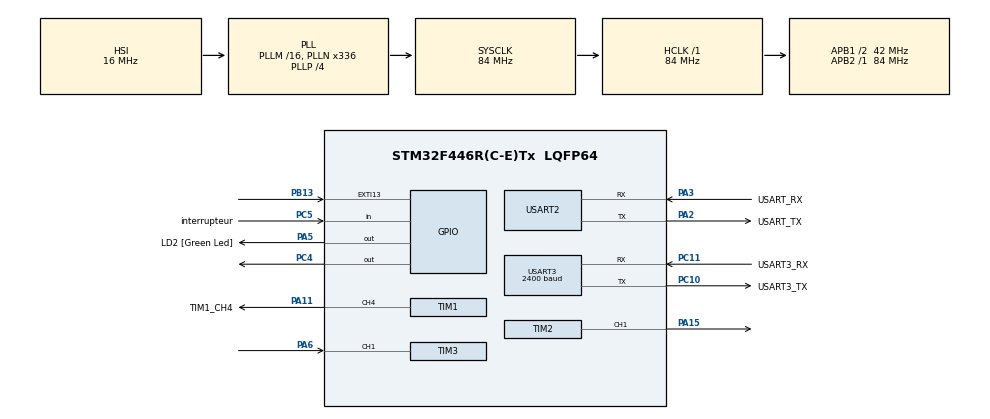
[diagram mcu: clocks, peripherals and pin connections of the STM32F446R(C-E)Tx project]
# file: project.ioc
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Dma.Request0=USART2_RX
Dma.Request1=USART2_TX
Dma.Request2=USART3_RX
Dma.Request3=USART3_TX
Dma.USART2_RX.0.Direction=DMA_PERIPH_TO_MEMORY
Dma.USART2_RX.0.FIFOMode=DMA_FIFOMODE_DISABLE
Dma.USART2_RX.0.Instance=DMA1_Stream5
Dma.USART2_RX.0.MemDataAlignment=DMA_MDATAALIGN_BYTE
Dma.USART2_RX.0.MemInc=DMA_MINC_ENABLE
Dma.USART2_RX.0.Mode=DMA_NORMAL
Dma.USART2_RX.0.PeriphDataAlignment=DMA_PDATAALIGN_BYTE
Dma.USART2_RX.0.PeriphInc=DMA_PINC_DISABLE
Dma.USART2_RX.0.Priority=DMA_PRIORITY_LOW
Dma.USART2_TX.1.Direction=DMA_MEMORY_TO_PERIPH
Dma.USART2_TX.1.FIFOMode=DMA_FIFOMODE_DISABLE
Dma.USART2_TX.1.Instance=DMA1_Stream6
Dma.USART2_TX.1.MemDataAlignment=DMA_MDATAALIGN_BYTE
Dma.USART2_TX.1.MemInc=DMA_MINC_ENABLE
Dma.USART2_TX.1.Mode=DMA_NORMAL
Dma.USART2_TX.1.PeriphDataAlignment=DMA_PDATAALIGN_BYTE
Dma.USART2_TX.1.PeriphInc=DMA_PINC_DISABLE
Dma.USART2_TX.1.Priority=DMA_PRIORITY_LOW
Dma.USART3_RX.2.Direction=DMA_PERIPH_TO_MEMORY
Dma.USART3_RX.2.FIFOMode=DMA_FIFOMODE_DISABLE
Dma.USART3_RX.2.Instance=DMA1_Stream1
Dma.USART3_RX.2.MemDataAlignment=DMA_MDATAALIGN_BYTE
Dma.USART3_RX.2.MemInc=DMA_MINC_ENABLE
Dma.USART3_RX.2.Mode=DMA_CIRCULAR
Dma.USART3_RX.2.PeriphDataAlignment=DMA_PDATAALIGN_BYTE
Dma.USART3_RX.2.PeriphInc=DMA_PINC_DISABLE
Dma.USART3_RX.2.Priority=DMA_PRIORITY_LOW
Dma.USART3_TX.3.Direction=DMA_MEMORY_TO_PERIPH
Dma.USART3_TX.3.FIFOMode=DMA_FIFOMODE_DISABLE
Dma.USART3_TX.3.Instance=DMA1_Stream3
Dma.USART3_TX.3.MemDataAlignment=DMA_MDATAALIGN_BYTE
Dma.USART3_TX.3.MemInc=DMA_MINC_ENABLE
Dma.USART3_TX.3.Mode=DMA_NORMAL
Dma.USART3_TX.3.PeriphDataAlignment=DMA_PDATAALIGN_BYTE
Dma.USART3_TX.3.PeriphInc=DMA_PINC_DISABLE
Dma.USART3_TX.3.Priority=DMA_PRIORITY_LOW
Mcu.Family=STM32F4
Mcu.Name=STM32F446R(C-E)Tx
Mcu.Package=LQFP64
NVIC.DMA1_Stream1_IRQn=true\:0\:0\:false\:false\:true\:false\:true
NVIC.DMA1_Stream3_IRQn=true\:0\:0\:false\:false\:true\:false\:true
NVIC.DMA1_Stream5_IRQn=true\:0\:0\:false\:false\:true\:false\:true
NVIC.DMA1_Stream6_IRQn=true\:0\:0\:false\:false\:true\:false\:true
NVIC.EXTI15_10_IRQn=true\:0\:0\:false\:false\:true\:true\:true
NVIC.PriorityGroup=NVIC_PRIORITYGROUP_0
NVIC.TIM3_IRQn=true\:0\:0\:false\:false\:true\:true\:true
NVIC.USART3_IRQn=true\:0\:0\:false\:false\:true\:true\:true
PA11.GPIO_Label=TIM1_CH4
PA11.Signal=S_TIM1_CH4
PA13.GPIO_Label=TMS
PA13.Mode=Serial_Wire
PA13.Signal=SYS_JTMS-SWDIO
PA14.GPIO_Label=TCK
PA14.Mode=Serial_Wire
PA14.Signal=SYS_JTCK-SWCLK
PA15.Signal=S_TIM2_CH1_ETR
PA2.GPIO_Label=USART_TX
PA2.Mode=Asynchronous
PA2.Signal=USART2_TX
PA3.GPIO_Label=USART_RX
PA3.Mode=Asynchronous
PA3.Signal=USART2_RX
PA5.GPIO_Label=LD2 [Green Led]
PA5.Signal=GPIO_Output
PA6.Signal=S_TIM3_CH1
PB13.GPIO_ModeDefaultEXTI=GPIO_MODE_IT_RISING_FALLING
PB13.GPIO_PuPd=GPIO_PULLUP
PB13.Signal=GPXTI13
PB3.GPIO_Label=SWO
PB3.Signal=SYS_JTDO-SWO
PC10.GPIO_Label=USART3_TX
PC10.Mode=Asynchronous
PC10.Signal=USART3_TX
PC11.GPIO_Label=USART3_RX
PC11.Mode=Asynchronous
PC11.Signal=USART3_RX
PC14-OSC32_IN.Mode=LSE-External-Oscillator
PC14-OSC32_IN.Signal=RCC_OSC32_IN
PC15-OSC32_OUT.Mode=LSE-External-Oscillator
PC15-OSC32_OUT.Signal=RCC_OSC32_OUT
PC4.Signal=GPIO_Output
PC5.GPIO_Label=interrupteur
PC5.GPIO_PuPd=GPIO_PULLUP
PC5.Signal=GPIO_Input
PC8.Signal=S_TIM3_CH3
PH0-OSC_IN.Mode=HSE-External-Oscillator
PH0-OSC_IN.Signal=RCC_OSC_IN
PH1-OSC_OUT.Mode=HSE-External-Oscillator
PH1-OSC_OUT.Signal=RCC_OSC_OUT
ProjectManager.HeapSize=0x200
ProjectManager.StackSize=0x400
ProjectManager.TargetToolchain=MDK-ARM V5.27
RCC.48MHZClocksFreq_Value=84000000
RCC.AHBFreq_Value=84000000
RCC.APB1CLKDivider=RCC_HCLK_DIV2
RCC.APB1Freq_Value=42000000
RCC.APB1TimFreq_Value=84000000
RCC.APB2Freq_Value=84000000
RCC.APB2TimFreq_Value=84000000
RCC.CortexFreq_Value=84000000
RCC.FLatency-AdvancedSettings=FLASH_LATENCY_2
RCC.HCLKFreq_Value=84000000
RCC.HSE_VALUE=8000000
RCC.HSI_VALUE=16000000
RCC.PLLN=336
RCC.PLLP=RCC_PLLP_DIV4
RCC.SYSCLKFreq_VALUE=84000000
RCC.SYSCLKSource=RCC_SYSCLKSOURCE_PLLCLK
RCC.USBFreq_Value=168000000
RCC.VCOOutputFreq_Value=336000000
SH.S_TIM1_CH4.0=TIM1_CH4,PWM Generation4 CH4
SH.S_TIM2_CH1_ETR.0=TIM2_CH1,PWM Generation1 CH1
SH.S_TIM3_CH1.0=TIM3_CH1,PWM_Input_1
SH.S_TIM3_CH3.0=TIM3_CH3
TIM1.Channel-PWM\ Generation4\ CH4=TIM_CHANNEL_4
TIM1.Period=9
TIM1.Prescaler=220
TIM1.Pulse-PWM\ Generation4\ CH4=4
TIM1.TIM_MasterOutputTrigger=TIM_TRGO_RESET
TIM2.Channel-PWM\ Generation1\ CH1=TIM_CHANNEL_1
TIM2.Period=199999
TIM2.Prescaler=83
TIM2.Pulse-PWM\ Generation1\ CH1=10
TIM3.Prescaler=83
USART2.VirtualMode=VM_ASYNC
USART3.BaudRate=2400
USART3.VirtualMode=VM_ASYNC
VP_TIM1_VS_ClockSourceINT.Mode=Internal
VP_TIM2_VS_ClockSourceINT.Mode=Internal
board=NUCLEO-F446RE

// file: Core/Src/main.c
/* USER CODE BEGIN Header */
/**
  ******************************************************************************
  * @file           : main.c
  * @brief          : Main program body
  ******************************************************************************
  * @attention
  *
  * <h2><center>&copy; Copyright (c) 2020 STMicroelectronics.
  * All rights reserved.</center></h2>
  *
  * This software component is licensed by ST under BSD 3-Clause license,
  * the "License"; You may not use this file except in compliance with the
  * License. You may obtain a copy of the License at:
  *                        opensource.org/licenses/BSD-3-Clause
  *
  ******************************************************************************
  */
/* USER CODE END Header */
#include "main.h"
#include "dma.h"
#include "tim.h"
#include "usart.h"
#include "gpio.h"

/* USER CODE BEGIN Includes */
#define ARM_MATH_CM4
#define CONTROLLER 1
#include "arm_math.h"
#include "stdio.h"
#include "stdlib.h"
#include "string.h"
#include "stdbool.h"
#include "ball.h"
#include "badminton.h"
#include "title.h"
#include "3d.h"
#include "MCUFRIEND_kbv.h"
/* USER CODE END Includes */

/* USER CODE BEGIN PV */
#define MAXHEIGHT 240
#define MAXWIDTH 320
#define FONT 8
#define PONGSIZE 50
#define SPACE 8
#define RBALL 5
#define PONGSPEED 5
#define VYSPEED 5.0

#define LIMITUP (MAXHEIGHT - FONT)
#define LIMITL  (MAXWIDTH - FONT)

extern volatile uint32_t pulse_width;

#define TX_BUFFER_SIZE 2 * (1 + CONTROLLER)
#define RX_BUFFER_SIZE 2 * (2 - CONTROLLER)

uint8_t transferBuffer[TX_BUFFER_SIZE];
uint8_t receiveBuffer[RX_BUFFER_SIZE];

volatile bool flagTransmitted = false;
volatile bool flagReceived = false;
volatile uint32_t local_time = 0;

uint8_t score_g = 0;
uint8_t score_d = 0;
bool score_g_changed = true;
bool score_d_changed = true;
bool exitDeuxContreDeux = false;
uint8_t toggle = 0;
enum mode currentMode = Title;
/* USER CODE END PV */

void SystemClock_Config(void);
/* USER CODE BEGIN PFP */
enum Tools {BALL, PONG};
enum CollisionType {UDWALL,LRWALL,PLAYER1,PLAYER2,NONE};
struct Tool
{
	float xPos;
	float yPos;
	float xSpeed;
	float ySpeed;
	enum Tools mType;
};

struct Tool mBall, mPade1, mPade2;
/* USER CODE END PFP */

/* USER CODE BEGIN 0 */

#ifdef __GNUC__
#define PUTCHAR_PROTOTYPE int __io_putchar(int ch)
#else
#define PUTCHAR_PROTOTYPE int fputc(int ch, FILE *f)
#endif /* __GNUC__ */

void SetLCD(void)
{
	LCD_Begin();
	HAL_Delay(20);
	LCD_SetRotation(3);
	LCD_FillScreen(LCD_Color565(0,17,114));
}

void BorderGame(void)
{
	LCD_FillRect(MAXWIDTH - FONT, 0, FONT,  MAXHEIGHT, WHITE); //RIGHT
	LCD_FillRect(0, 0, MAXWIDTH, FONT, WHITE);  //UP
	LCD_FillRect(0, MAXHEIGHT-FONT, MAXWIDTH, FONT,  WHITE); //DOWN
	LCD_FillRect(0, 0,  FONT, MAXHEIGHT, WHITE); //LEFT
}

int16_t cMax(int16_t a, int16_t b)
{
	return (a<b)?b:a;
}

int16_t cMin(int16_t a, int16_t b)
{
	return (a>b)?b:a;
}

int BallRectangle (int16_t Cx,int16_t Cy,int16_t Rx, int16_t Ry, int16_t RectWidth, int16_t RectHeight)
{
	int16_t DeltaX = Cx - cMax(Rx, cMin(Cx, Rx + RectWidth));
	int16_t DeltaY = Cy - cMax(Ry, cMin(Cy, Ry + RectHeight));

	return (DeltaX * DeltaX + DeltaY * DeltaY) <= ( ( RBALL + 2) * (RBALL + 2));
}

#if CONTROLLER
enum CollisionType CollisionBall()
{
	if(BallRectangle(mBall.xPos + mBall.xSpeed,mBall.yPos + mBall.ySpeed, 0, MAXHEIGHT-FONT,  MAXWIDTH, FONT) ||
		BallRectangle(mBall.xPos+ mBall.xSpeed,mBall.yPos + mBall.ySpeed,0, 0, MAXWIDTH, FONT))
			return UDWALL;

	if(BallRectangle(mBall.xPos + mBall.xSpeed,mBall.yPos + mBall.ySpeed,0,0, FONT,MAXHEIGHT) ||
		BallRectangle(mBall.xPos + mBall.xSpeed,mBall.yPos + mBall.ySpeed,MAXWIDTH - FONT, 0, FONT, MAXHEIGHT))
			return LRWALL;

	if(BallRectangle(mBall.xPos + mBall.xSpeed, mBall.yPos + mBall.ySpeed,mPade2.xPos,mPade2.yPos,FONT,PONGSIZE))
		return PLAYER2;

	if(BallRectangle(mBall.xPos + mBall.xSpeed,mBall.yPos + mBall.ySpeed,mPade1.xPos,mPade1.yPos,FONT,PONGSIZE))
		return PLAYER1;

	return NONE;
}
#endif
int CollisionPong(struct Tool mPade)
{
	if(((mPade.xPos + mPade.xSpeed + PONGSIZE) > LIMITUP) ||
			((mPade.xPos + mPade.xSpeed) < FONT ))
		return 1;
	return 0;
}

void InitGame()
{
	mBall.xPos = MAXWIDTH/2;
	mBall.yPos = MAXHEIGHT/2;
	mBall.xSpeed = 2;
	mBall.ySpeed = 2;

	mPade1.xPos = SPACE ;
	mPade1.yPos = MAXHEIGHT/2-PONGSIZE/2;
	mPade1.xSpeed = 0;
	mPade1.ySpeed = 0;

	mPade2.xPos = MAXWIDTH - SPACE - FONT ;
	mPade2.yPos = MAXHEIGHT/2-PONGSIZE/2;
	mPade2.xSpeed = 0;
	mPade2.ySpeed = 0;
	score_d = 0;
	score_g = 0;
	exitDeuxContreDeux  = false;
}

/** Transmit the already filled 'transferBuffer' array through
* USART and wait until it is received.
*/
//void finishTransmission(int nBytes){
//	HAL_UART_Transmit_DMA(&huart3, transferBuffer, nBytes);
//	while (flagTransmitted == false);
//	flagTransmitted = false;
//	local_time = 0;
//	while (flagReceived == false && local_time < 1000);
//	flagReceived = false;
//}
//#ifdef isController
//void sendPosition(){
//	transferBuffer[0] = 254;
//	transferBuffer[1] = (uint8_t) (mBall.xPos);
//	transferBuffer[2] = (uint8_t) (mBall.yPos / 2);
//	transferBuffer[3] = (uint8_t) (mPade1.xPos);
//	finishTransmission(4);
//}
//void sendScore(){
//	transferBuffer[0] = 255;
//	transferBuffer[1] = score_g;
//	transferBuffer[2] = score_d;
//	transferBuffer[3] = 0;
//	finishTransmission(4);
//}
//#endif
//#ifdef isExecuter
//void sendHeight(){
//	transferBuffer[0] = 253;
//	transferBuffer[1] = (uint8_t) (mPade1.xPos);
//	finishTransmission(2);
//}
//#endif

#if CONTROLLER
void MoveBall()
{
	LCD_FillCircle(mBall.xPos, mBall.yPos,RBALL+2,LCD_Color565(0,17,114));
	switch (CollisionBall())
	{
		case UDWALL:
								//BorderGame();
								mBall.ySpeed *=-1;
								break;
		case LRWALL:
								//BorderGame();
								mBall.xSpeed*=-1;
								// Hitting the top means that left player scored.
								if (mBall.xPos < 25){
									score_d++;
									score_d_changed = true;
								}
								// The ball hitting the bottom means the right one scored.
								else if (mBall.xPos > 200){
									score_g++;
									score_g_changed = true;
								}
								// Put the ball back into the middle.
								mBall.xPos = MAXWIDTH / 2;
								break;
		case PLAYER2:
								mBall.xSpeed *= -1;
								mBall.ySpeed  = (((mPade2.yPos + PONGSIZE/2.0) - mBall.yPos)/(PONGSIZE/2.0))*-VYSPEED;
								break;
		case PLAYER1:
								mBall.xSpeed *= -1;
								mBall.ySpeed  = (((mPade1.yPos + PONGSIZE/2.0) - mBall.yPos)/(PONGSIZE/2.0))*-VYSPEED;
								break;
		default:
								break;
	}

	mBall.xPos += mBall.xSpeed;
	mBall.yPos += mBall.ySpeed;
	LCD_FillCircle(mBall.xPos, mBall.yPos,RBALL,LCD_Color565(0,255,33));
}
#endif

//struct Tool MovePong(struct Tool mPong)
//{
//	if(!CollisionPong(mPong))
//	{
//		LCD_FillRect(mPong.xPos,mPong.yPos,PONGSIZE,FONT,LCD_Color565(0,17,114));
//		mPong.xPos += mPong.xSpeed;
//		mPong.yPos += mPong.ySpeed;
//		LCD_FillRect(mPong.xPos,mPong.yPos,PONGSIZE,FONT,WHITE);
//	}
//	return mPong;
//}

void drawNet(){
	LCD_FillRect(FONT, 320/2 - FONT/8, 240-(2*FONT), FONT/4, LCD_Color565(0,17,114));
	for (int i = 0; i < 7; i++)
		LCD_FillRect(320/2 - FONT/8, FONT + FONT/2 + (i*4*FONT), FONT/4, FONT*3, WHITE);
}
void placePongWithDistance(struct Tool* mPong, float distance){
	// Remove 2 cm because it is too close to the sensor, normalise with 30 cm
	// to define a working range and scale to screen width (240 - 20 px).
	if (distance < 2.0)
		distance = 2.0;
	float normalisedDistance = ((distance - 2.0) / 30.0) * (float)(MAXHEIGHT - (2*FONT));
	//  Check if the position is too large.
	if (normalisedDistance + PONGSIZE > MAXHEIGHT - (2*FONT))
		normalisedDistance = MAXHEIGHT - PONGSIZE - (2*FONT);
	// Place pong
	mPong->yPos = normalisedDistance + FONT;
}

void displayDefaite(uint8_t score_g, uint8_t score_d)
{
		LCD_FillScreen(LCD_Color565(140,0,0));
		LCD_SetCursor(30, 30);
		LCD_SetTextColor(BLACK,LCD_Color565(140,0,0));
		LCD_SetTextSize(4);
		LCD_Printf("X DEFAITE X\r\n");
		LCD_FillRect(35 - FONT/2, 120 - FONT/2, 255 + FONT, FONT/2, WHITE);
		LCD_FillRect(35 - FONT/2, 120 - FONT/2, FONT/2, 80 + FONT, WHITE);
		LCD_FillRect(35, 120, 255, 80, LCD_Color565(0,17,114));
		LCD_FillRect(35 + 255, 120 - FONT/2, FONT/2, 80 + FONT, WHITE);
		LCD_FillRect(35 - FONT/2, 120 + 80, 255 + FONT, FONT/2, WHITE);

		LCD_SetCursor(35 + FONT, 120 + FONT);
		LCD_SetTextColor(WHITE, LCD_Color565(0,17,114));
		LCD_SetTextSize(3);
		LCD_Printf(" Score Final:\r\n");

		LCD_SetCursor(90 + FONT, 160 + FONT);
		LCD_SetTextColor(LCD_Color565(255,0,0), LCD_Color565(0,17,114));
		LCD_SetTextSize(3);
		LCD_Printf("%i\r\n", score_g);

		LCD_SetCursor(190 + FONT, 160 + FONT);
		LCD_SetTextColor(LCD_Color565(255,224,71), LCD_Color565(0,17,114));
		LCD_SetTextSize(3);
		LCD_Printf("%i\r\n", score_d);
}

void displayVictoire(uint8_t score_g, uint8_t score_d)
{
		//FONT
		//LCD_FillScreen(LCD_Color565(0,229,26));
		LCD_FillScreen(GREENYELLOW);
		LCD_SetCursor(30, 30);
		LCD_SetTextColor(WHITE, GREENYELLOW);
		LCD_SetTextSize(4);
		LCD_Printf("!! BRAVO !!\r\n");
		LCD_FillRect(35, 120, 255, 80, LCD_Color565(0,17,114));

		LCD_FillRect(35 - FONT/2, 120 - FONT/2, 255 + FONT, FONT/2, WHITE);
		LCD_FillRect(35 - FONT/2, 120 - FONT/2, FONT/2, 80 + FONT, WHITE);
		LCD_FillRect(35, 120, 255, 80, LCD_Color565(0,17,114));
		LCD_FillRect(35 + 255, 120 - FONT/2, FONT/2, 80 + FONT, WHITE);
		LCD_FillRect(35 - FONT/2, 120 + 80, 255 + FONT, FONT/2, WHITE);

		LCD_SetCursor(35 + FONT, 120 + FONT);
		LCD_SetTextColor(WHITE, LCD_Color565(0,17,114));
		LCD_SetTextSize(3);
		LCD_Printf(" Score Final:\r\n");

		LCD_SetCursor(90 + FONT, 160 + FONT);
		LCD_SetTextColor(LCD_Color565(255,0,0), LCD_Color565(0,17,114));
		LCD_SetTextSize(3);
		LCD_Printf("%i\r\n", score_g);

		LCD_SetCursor(190 + FONT, 160 + FONT);
		LCD_SetTextColor(LCD_Color565(255,224,71), LCD_Color565(0,17,114));
		LCD_SetTextSize(3);
		LCD_Printf("%i\r\n", score_d);
}
void displayFin(uint8_t score)
{
		//FONT
		LCD_FillScreen(LCD_Color565(0, 155, 255));
		LCD_SetCursor(30, 30);
		LCD_SetTextColor(LCD_Color565(255,0,0), LCD_Color565(0, 155, 255));
		LCD_SetTextSize(4);
	  LCD_Printf(" ): FIN :(\r\n");
		LCD_FillRect(35, 120, 255, 80, LCD_Color565(0,17,114));

		LCD_FillRect(35 - FONT/2, 120 - FONT/2, 255 + FONT, FONT/2, WHITE);
		LCD_FillRect(35 - FONT/2, 120 - FONT/2, FONT/2, 80 + FONT, WHITE);
		LCD_FillRect(35, 120, 255, 80, LCD_Color565(0,17,114));
		LCD_FillRect(35 + 255, 120 - FONT/2, FONT/2, 80 + FONT, WHITE);
		LCD_FillRect(35 - FONT/2, 120 + 80, 255 + FONT, FONT/2, WHITE);

		LCD_SetCursor(35 + FONT, 120 + FONT);
		LCD_SetTextColor(WHITE, LCD_Color565(0,17,114));
		LCD_SetTextSize(3);
		LCD_Printf(" Score Final:\r\n");

		LCD_SetCursor(130 + FONT, 160 + FONT);
		LCD_SetTextColor(LCD_Color565(255,0,0), LCD_Color565(0,17,114));
		LCD_SetTextSize(3);
		LCD_Printf("%i\r\n", score);
}

/* USER CODE END 0 */

int main(void)
{

  /* MCU Configuration--------------------------------------------------------*/

  /* Reset of all peripherals, Initializes the Flash interface and the Systick. */
  HAL_Init();

  /* Configure the system clock */
  SystemClock_Config();

  /* Initialize all configured peripherals */
  MX_GPIO_Init();
  MX_DMA_Init();
  MX_USART2_UART_Init();
  MX_TIM2_Init();
  MX_TIM3_Init();
  MX_USART3_UART_Init();
  MX_TIM1_Init();
  /* USER CODE BEGIN 2 */
	HAL_Delay(1000);
	SetLCD();
	//InitGame();
	//BorderGame();
	HAL_GPIO_WritePin(LD2_GPIO_Port,LD2_Pin,GPIO_PIN_SET);
	HAL_TIM_PWM_Start(&htim2, TIM_CHANNEL_1);
	HAL_TIM_PWM_Start(&htim1, TIM_CHANNEL_4);
	HAL_TIM_IC_Start_IT(&htim3, TIM_CHANNEL_1);
	HAL_TIM_IC_Start_IT(&htim3, TIM_CHANNEL_2);
	HAL_TIM_IC_Start_IT(&htim1, TIM_CHANNEL_4);
	HAL_UART_Receive_DMA(&huart3, receiveBuffer, RX_BUFFER_SIZE);
  /* USER CODE END 2 */

  /* Infinite loop */
  /* USER CODE BEGIN WHILE */
	float distance = 0;
//	LCD_FillRect(mPade1.xPos,mPade1.yPos,FONT, PONGSIZE,LCD_Color565(255,0,0));
//	LCD_FillRect(mPade2.xPos,mPade2.yPos,FONT, PONGSIZE,LCD_Color565(255,224,71));
//	LCD_SetCursor(240 - FONT, 30);
//	LCD_SetTextColor(WHITE,LCD_Color565(0,17,114));
//	LCD_Printf("%i\r\n", score_d); // Player 1
//	LCD_SetTextColor(WHITE,LCD_Color565(0,17,114));
//	LCD_SetCursor(80 - FONT, 30);
//	LCD_Printf("%i\r\n", score_g); // Player 2
		const char* intro[13] = {"ELE3312 - Project", "", "PONG-19", "",
			"Modern pong game", "Futuristic look", "", "Developed by : ", "", "Joseph Maheshe", "Vincent Therrien",
			"", "December 3, 2020"
		};

		int16_t ht = 16, top = 3, line = 0, lines = 13, scroll=0;
		LCD_FillScreen(LCD_Color565(140,0,0));
		LCD_SetTextSize(2);
		LCD_SetTextColor(WHITE, LCD_Color565(140,0,0));
		LCD_SetRotation(0);
		while(line < lines)
		{
		LCD_SetCursor(0, (scroll + top) * ht);
    LCD_VertScroll(top * ht, lines * ht, (++scroll) * ht);
		LCD_Printf(intro[line]);
    HAL_Delay(1000);
    line++;
		}
		LCD_SetTextSize(3);
	initTitle();
  while (1)
  {
    /* USER CODE END WHILE */

    /* USER CODE BEGIN 3 */

//		while(exitB() == 0)
//		{
			distance = ((float)pulse_width)/58.0;
//			updateBadminton(distance);
//			HAL_Delay(25);
//		}
			if (currentMode == Title){
			updateTitle(distance);
			if (HAL_GPIO_ReadPin(interrupteur_GPIO_Port, interrupteur_Pin) == RESET){
				currentMode = getMode();
				if (currentMode == Mode3D)
					init3D();
				else if(currentMode == Badminton)
					initBadminton();
				else if (currentMode == DeuxContreDeux)
				{
					LCD_FillScreen(LCD_Color565(0,17,114));
					BorderGame();
					InitGame();
					LCD_FillRect(mPade1.xPos,mPade1.yPos,FONT, PONGSIZE,LCD_Color565(255,0,0));
					LCD_FillRect(mPade2.xPos,mPade2.yPos,FONT, PONGSIZE,LCD_Color565(255,224,71));
					LCD_SetCursor(240 - FONT, 30);
					LCD_SetTextColor(WHITE,LCD_Color565(0,17,114));
					LCD_Printf("%i\r\n", score_d); // Player 1
					LCD_SetTextColor(WHITE,LCD_Color565(0,17,114));
					LCD_SetCursor(80 - FONT, 30);
					LCD_Printf("%i\r\n", score_g); // Player 2
				}
				else if (currentMode == UnJoueur)
				{
					LCD_FillScreen(LCD_Color565(0,17,114));
					BorderGame();
					InitGame();
					LCD_FillRect(mPade1.xPos,mPade1.yPos,FONT, PONGSIZE,LCD_Color565(255,0,0));
					LCD_FillRect(mPade2.xPos,mPade2.yPos,FONT, PONGSIZE,LCD_Color565(255,224,71));
					LCD_SetCursor(240 - FONT, 30);
					LCD_SetTextColor(WHITE,LCD_Color565(0,17,114));
					LCD_Printf("%i\r\n", score_d); // Player 1
					LCD_SetTextColor(WHITE,LCD_Color565(0,17,114));
					LCD_SetCursor(80 - FONT, 30);
					LCD_Printf("%i\r\n", score_g); // Player 2
				}
			}
		}
		// 3D
		if (currentMode == Mode3D){
			update3D(distance);
			if (mode3DmustExit() == -1){
				displayDefaite(getPlayerScore3D(), getComputerScore3D());
				HAL_Delay(3000);
				currentMode = Title;
				initTitle();
			}
			else if (mode3DmustExit() == 1){
				displayVictoire(getPlayerScore3D(), getComputerScore3D());
				HAL_Delay(3000);
				currentMode = Title;
				initTitle();
			}
		}
		//Badminton
		if (currentMode == Badminton){
			updateBadminton(distance);
			if (exitB() == 1){
				displayFin(getScoreBadminton());
				HAL_Delay(3000);
				currentMode = Title;
				initTitle();
			}
		}
		// Un joueur
		if (currentMode == UnJoueur){
			if (mBall.xPos > (MAXWIDTH/2) - (2*FONT)
				&& mBall.xPos < (MAXWIDTH/2) + (2*FONT))
			drawNet();
		if(BallRectangle(mBall.xPos, mBall.yPos, 200, 10, 50, 50) || score_d_changed)
			{
				LCD_FillRect(240 - FONT, 30, 10, 20, LCD_Color565(0,17,114));
				LCD_SetCursor(240 - FONT, 30);
				LCD_SetTextColor(WHITE,LCD_Color565(0,17,114));
				LCD_Printf("%i\r\n", score_d); // Player 2
			}

		if(BallRectangle(mBall.xPos, mBall.yPos, 60, 10, 50, 50) || score_g_changed)
			{
				LCD_FillRect(80 - FONT, 30, 10,  20, LCD_Color565(0,17,114));
				LCD_SetTextColor(WHITE, LCD_Color565(0,17,114));
				LCD_SetCursor(80 - FONT, 30);
				LCD_Printf("%i\r\n", score_g); // Player 1
			}
			toggle ^= (score_d_changed || score_g_changed);
			LCD_InvertDisplay(toggle);
			if (score_g ==5)
		{
			LCD_InvertDisplay(false);
			  displayVictoire(score_g, score_d);
				HAL_Delay(3000);
				exitDeuxContreDeux = true;
				currentMode = Title;
				initTitle();
		}
			else if (score_d == 5)
			{
				LCD_InvertDisplay(false);
				displayDefaite(score_g, score_d);
				HAL_Delay(3000);
				exitDeuxContreDeux = true;
				currentMode = Title;
				initTitle();
			}
			score_g_changed = false;
		score_d_changed = false;
if(!exitDeuxContreDeux)
{
		// Measure distance
		distance = ((float)pulse_width)/58.0;
		LCD_FillRect(mPade1.xPos,mPade1.yPos,FONT,PONGSIZE,LCD_Color565(0,17,114));
		placePongWithDistance(&mPade1, distance);
		LCD_FillRect(mPade1.xPos,mPade1.yPos,FONT,PONGSIZE,LCD_Color565(255,0,0));
		}
		MoveBall();

		// Ajouter le controle automatique de mPade2
		float delta = mPade2.yPos - mBall.yPos;
		printf("%f\n\r", delta);
		int motion = 0;
		if (delta > 0 && mBall.xPos > 100){
			motion = -3;
		}
		else if (delta < 0 && mBall.xPos > 100){
			motion = 3;
		}
		LCD_FillRect(mPade2.xPos,mPade2.yPos,FONT,PONGSIZE,LCD_Color565(0,17,114));
		mPade2.yPos += motion;
		if (mPade2.yPos < 10)
			mPade2.yPos = FONT;
		if (mPade2.yPos + PONGSIZE > 240 - FONT)
			mPade2.yPos = 240 - FONT - PONGSIZE;
		LCD_FillRect(mPade2.xPos,mPade2.yPos,FONT,PONGSIZE,LCD_Color565(255,224,71));

	}

		//Deux contre Deux
		if (currentMode == DeuxContreDeux){
		// Display the net only if the ball is near it.
		if (mBall.xPos > (MAXWIDTH/2) - (2*FONT)
				&& mBall.xPos < (MAXWIDTH/2) + (2*FONT))
			drawNet();
		// Display scores  either if they changed or if they are
		// erase by the motion of the ball.
			//

		if(BallRectangle(mBall.xPos, mBall.yPos, 200, 10, 50, 50) || score_d_changed)
			{
				LCD_FillRect(240 - FONT, 30, 10, 20, LCD_Color565(0,17,114));
				LCD_SetCursor(240 - FONT, 30);
				LCD_SetTextColor(WHITE,LCD_Color565(0,17,114));
				LCD_Printf("%i\r\n", score_d); // Player 2
			}

		if(BallRectangle(mBall.xPos, mBall.yPos, 60, 10, 50, 50) || score_g_changed)
			{
				LCD_FillRect(80 - FONT, 30, 10,  20, LCD_Color565(0,17,114));
				LCD_SetTextColor(WHITE, LCD_Color565(0,17,114));
				LCD_SetCursor(80 - FONT, 30);
				LCD_Printf("%i\r\n", score_g); // Player 1
			}
#if CONTROLLER
		if (score_d_changed || score_g_changed)
		{
			transferBuffer[0] = 255;
			transferBuffer[1] = (uint8_t) score_g;
			transferBuffer[2] = (uint8_t) score_d;
//			GPIOA->OTYPER &= ~(1 << 11);
			HAL_UART_Transmit_DMA(&huart3, transferBuffer, TX_BUFFER_SIZE);
//			while(!flagTransmitted);
//			flagTransmitted = false;
//			HAL_Delay(2);
//			GPIOA->OTYPER |= (1 << 11);
		}
#endif
		toggle ^= (score_d_changed || score_g_changed);
		LCD_InvertDisplay(toggle);

		if (score_g ==5)
		{
			LCD_InvertDisplay(false);
#if CONTROLLER
			  displayVictoire(score_g, score_d);
#else
				displayDefaite(score_g, score_d);
#endif
				HAL_Delay(3000);
				exitDeuxContreDeux = true;
				currentMode = Title;
				initTitle();
		}
		else if (score_d == 5)
		{
			LCD_InvertDisplay(false);
#if CONTROLLER
			  displayDefaite(score_g, score_d);
#else
				displayVictoire(score_g, score_d);
#endif
				HAL_Delay(3000);
			  exitDeuxContreDeux = true;
				currentMode = Title;
				initTitle();
		}

//
		score_g_changed = false;
		score_d_changed = false;
if(!exitDeuxContreDeux)
{
		// Measure distance
		distance = ((float)pulse_width)/58.0;
#if CONTROLLER
		LCD_FillRect(mPade1.xPos,mPade1.yPos,FONT,PONGSIZE,LCD_Color565(0,17,114));
		placePongWithDistance(&mPade1, distance);
		LCD_FillRect(mPade1.xPos,mPade1.yPos,FONT,PONGSIZE,LCD_Color565(255,0,0));
#else
		LCD_FillRect(mPade2.xPos,mPade2.yPos,FONT,PONGSIZE,LCD_Color565(0,17,114));
		placePongWithDistance(&mPade2, distance);
		LCD_FillRect(mPade2.xPos,mPade2.yPos,FONT,PONGSIZE,LCD_Color565(255,224,71));
		transferBuffer[0] = 253;
		transferBuffer[1] = (uint8_t) (mPade2.yPos);
//		GPIOA->OTYPER &= ~(1 << 11);
		HAL_UART_Transmit_DMA(&huart3, transferBuffer, TX_BUFFER_SIZE);
//		while(!flagTransmitted);
//			flagTransmitted = false;
//			HAL_Delay(2);
//			GPIOA->OTYPER |= (1 << 11);
#endif
	local_time = 0;
	while (!flagReceived)
	{
		if (local_time == 50)
			break;
	}
	if (flagReceived)
	{

#if CONTROLLER
		if (receiveBuffer[0] == 253)
		{
			LCD_FillRect(mPade2.xPos,mPade2.yPos,FONT,PONGSIZE,LCD_Color565(0,17,114));
			mPade2.yPos = receiveBuffer[1];
			LCD_FillRect(mPade2.xPos,mPade2.yPos,FONT,PONGSIZE,LCD_Color565(255,224,71));
			flagReceived = 0;
		}
#else
		if (receiveBuffer[0] == 254)
		{
				LCD_FillRect(mPade1.xPos,mPade1.yPos,FONT,PONGSIZE,LCD_Color565(0,17,114));
				mPade1.yPos = receiveBuffer[3];
				LCD_FillRect(mPade1.xPos,mPade1.yPos,FONT,PONGSIZE,LCD_Color565(255,0,0));

				LCD_FillCircle(mBall.xPos, mBall.yPos,RBALL,LCD_Color565(0,17,114));
				mBall.yPos = receiveBuffer[1];
				mBall.xPos = receiveBuffer[2]*2;
				LCD_FillCircle(mBall.xPos, mBall.yPos,RBALL,LCD_Color565(0,255,33));
		}
#endif
		flagReceived = false;
	}

#if CONTROLLER
		MoveBall();
		transferBuffer[0] = 254;
		transferBuffer[1] = (uint8_t) (mBall.yPos);
		transferBuffer[2] = (uint8_t) (mBall.xPos/2);
		transferBuffer[3] = (uint8_t)	mPade1.yPos;
//		GPIOA->OTYPER &= ~(1 << 11);
		HAL_UART_Transmit_DMA(&huart3, transferBuffer, TX_BUFFER_SIZE);
//		while(!flagTransmitted);
//			flagTransmitted = false;
//			HAL_Delay(2);
//			GPIOA->OTYPER |= (1 << 11);
#endif

#if CONTROLLER==0
	local_time = 0;
	while (!flagReceived)
	{
		if (local_time == 50)
			break;
	}
	if (flagReceived)
	{

		if (receiveBuffer[0] == 255)
		{
				score_g = receiveBuffer[1];
				score_d = receiveBuffer[2];
				score_g_changed = true;
			  score_d_changed = true;
		}
	flagReceived = false;
	}
	#endif

//		mPade2 = MovePong(mPade2);
//		MoveBall();
//
//		// Control pong one (i.e. right):
//		LCD_FillRect(mPade1.xPos,mPade1.yPos,PONGSIZE,FONT,LCD_Color565(0,17,114));
//		placePongWithDistance(&mPade1, distance);
//		LCD_FillRect(mPade1.xPos,mPade1.yPos,PONGSIZE,FONT,WHITE);
//
//		//emulate player two (i.e. left):
//		mPade2.xSpeed = (rand()%5-2);
	}
}

		HAL_Delay(25);
  }
  /* USER CODE END 3 */
}

void SystemClock_Config(void)
{
  RCC_OscInitTypeDef RCC_OscInitStruct = {0};
  RCC_ClkInitTypeDef RCC_ClkInitStruct = {0};

  /** Configure the main internal regulator output voltage
  */
  __HAL_RCC_PWR_CLK_ENABLE();
  __HAL_PWR_VOLTAGESCALING_CONFIG(PWR_REGULATOR_VOLTAGE_SCALE3);
  /** Initializes the RCC Oscillators according to the specified parameters
  * in the RCC_OscInitTypeDef structure.
  */
  RCC_OscInitStruct.OscillatorType = RCC_OSCILLATORTYPE_HSI;
  RCC_OscInitStruct.HSIState = RCC_HSI_ON;
  RCC_OscInitStruct.HSICalibrationValue = RCC_HSICALIBRATION_DEFAULT;
  RCC_OscInitStruct.PLL.PLLState = RCC_PLL_ON;
  RCC_OscInitStruct.PLL.PLLSource = RCC_PLLSOURCE_HSI;
  RCC_OscInitStruct.PLL.PLLM = 16;
  RCC_OscInitStruct.PLL.PLLN = 336;
  RCC_OscInitStruct.PLL.PLLP = RCC_PLLP_DIV4;
  RCC_OscInitStruct.PLL.PLLQ = 2;
  RCC_OscInitStruct.PLL.PLLR = 2;
  if (HAL_RCC_OscConfig(&RCC_OscInitStruct) != HAL_OK)
  {
    Error_Handler();
  }
  /** Initializes the CPU, AHB and APB buses clocks
  */
  RCC_ClkInitStruct.ClockType = RCC_CLOCKTYPE_HCLK|RCC_CLOCKTYPE_SYSCLK
                              |RCC_CLOCKTYPE_PCLK1|RCC_CLOCKTYPE_PCLK2;
  RCC_ClkInitStruct.SYSCLKSource = RCC_SYSCLKSOURCE_PLLCLK;
  RCC_ClkInitStruct.AHBCLKDivider = RCC_SYSCLK_DIV1;
  RCC_ClkInitStruct.APB1CLKDivider = RCC_HCLK_DIV2;
  RCC_ClkInitStruct.APB2CLKDivider = RCC_HCLK_DIV1;

  if (HAL_RCC_ClockConfig(&RCC_ClkInitStruct, FLASH_LATENCY_2) != HAL_OK)
  {
    Error_Handler();
  }
}

/* USER CODE BEGIN 4 */

/**
 * @brief Retargets the C library printf function to the USART.
 * @param None
 * @retval None
 */
PUTCHAR_PROTOTYPE
{
    /* Place your implementation of fputc here */
    /* e.g. write a character to the USART2 and Loop until the end
	of transmission */
    HAL_UART_Transmit(&huart2, (uint8_t *)&ch, 1, 0xFFFF);
    return ch;
}
void HAL_UART_ErrorCallback(UART_HandleTypeDef *huart)
{
	if (huart->Instance == USART3)
	{
		flagReceived = false;
		HAL_UART_Receive_DMA(&huart3, receiveBuffer, RX_BUFFER_SIZE);
	}
}
void HAL_UART_RxCpltCallback(UART_HandleTypeDef *huart){
	if (huart->Instance == USART3)
	{
		flagReceived = true;
		printf("Receive over\r\n");
	for (int i = 0; i < RX_BUFFER_SIZE; i++)
		{
		  printf("%i\r\n",receiveBuffer[i]);
		}
	}

}
void HAL_UART_TxCpltCallback(UART_HandleTypeDef *huart){
	if (huart->Instance == USART3)
	{
		printf("Transfert over\r\n");
		flagTransmitted = true;
	}

}

void HAL_SYSTICK_Callback(void) {
	local_time++;
}

void HAL_GPIO_EXTI_Callback(uint16_t GPIO_PIN){
	if (GPIO_PIN == GPIO_PIN_13){
		if (HAL_GPIO_ReadPin(GPIOB, GPIO_PIN_13))
			HAL_TIM_PWM_Stop(&htim1, TIM_CHANNEL_4);
		else
			HAL_TIM_PWM_Start(&htim1, TIM_CHANNEL_4);
	}
}

/* USER CODE END 4 */

void Error_Handler(void)
{
}

/************************ (C) COPYRIGHT STMicroelectronics *****END OF FILE****/
